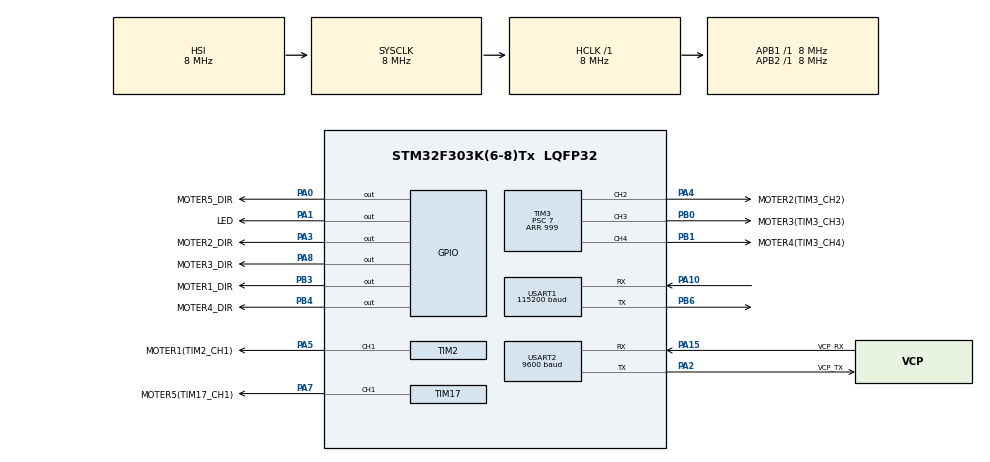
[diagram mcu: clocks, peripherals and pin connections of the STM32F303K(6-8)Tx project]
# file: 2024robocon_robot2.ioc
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Mcu.Family=STM32F3
Mcu.Name=STM32F303K(6-8)Tx
Mcu.Package=LQFP32
NVIC.PriorityGroup=NVIC_PRIORITYGROUP_4
NVIC.TIM1_TRG_COM_TIM17_IRQn=true\:0\:0\:false\:false\:true\:true\:true\:true
NVIC.TIM6_DAC1_IRQn=true\:0\:0\:false\:false\:true\:true\:true\:true
NVIC.USART1_IRQn=true\:0\:0\:false\:false\:true\:true\:true\:true
NVIC.USART2_IRQn=true\:0\:0\:false\:false\:true\:true\:true\:true
PA0.GPIO_Label=MOTER5_DIR
PA0.Signal=GPIO_Output
PA1.GPIO_Label=LED
PA1.Signal=GPIO_Output
PA10.Mode=Asynchronous
PA10.Signal=USART1_RX
PA13.GPIO_Label=SWDIO
PA13.Mode=Serial_Wire
PA13.Signal=SYS_JTMS-SWDIO
PA14.GPIO_Label=SWCLK
PA14.Mode=Serial_Wire
PA14.Signal=SYS_JTCK-SWCLK
PA15.GPIO_Label=VCP_RX
PA15.Mode=Asynchronous
PA15.Signal=USART2_RX
PA2.GPIO_Label=VCP_TX
PA2.Mode=Asynchronous
PA2.Signal=USART2_TX
PA3.GPIO_Label=MOTER2_DIR
PA3.Signal=GPIO_Output
PA4.GPIO_Label=MOTER2(TIM3_CH2)
PA4.GPIO_ModeDefaultPP=GPIO_MODE_AF_PP
PA4.GPIO_PuPd=GPIO_NOPULL
PA4.GPIO_Speed=GPIO_SPEED_FREQ_LOW
PA4.Signal=S_TIM3_CH2
PA5.GPIO_Label=MOTER1(TIM2_CH1)
PA5.Signal=S_TIM2_CH1_ETR
PA7.GPIO_Label=MOTER5(TIM17_CH1)
PA7.GPIO_ModeDefaultPP=GPIO_MODE_AF_PP
PA7.GPIO_Speed=GPIO_SPEED_FREQ_LOW
PA7.Signal=S_TIM17_CH1
PA8.GPIO_Label=MOTER3_DIR
PA8.Signal=GPIO_Output
PB0.GPIO_Label=MOTER3(TIM3_CH3)
PB0.GPIO_ModeDefaultPP=GPIO_MODE_AF_PP
PB0.GPIO_Speed=GPIO_SPEED_FREQ_LOW
PB0.Signal=S_TIM3_CH3
PB1.GPIO_Label=MOTER4(TIM3_CH4)
PB1.GPIO_ModeDefaultPP=GPIO_MODE_AF_PP
PB1.GPIO_Speed=GPIO_SPEED_FREQ_LOW
PB1.Signal=S_TIM3_CH4
PB3.GPIO_Label=MOTER1_DIR
PB3.Signal=GPIO_Output
PB4.GPIO_Label=MOTER4_DIR
PB4.Signal=GPIO_Output
PB6.Mode=Asynchronous
PB6.Signal=USART1_TX
PF0\ /\ OSC_IN.GPIO_Label=MCO
PF0\ /\ OSC_IN.Mode=HSE-External-Clock-Source
PF0\ /\ OSC_IN.Signal=RCC_OSC_IN
ProjectManager.HeapSize=0x200
ProjectManager.StackSize=0x400
ProjectManager.TargetToolchain=CMake
RCC.AHBFreq_Value=8000000
RCC.APB1Freq_Value=8000000
RCC.APB2Freq_Value=8000000
RCC.CortexFreq_Value=8000000
RCC.HSE_VALUE=8000000
RCC.HSI_VALUE=8000000
RCC.SYSCLKFreq_VALUE=8000000
SH.S_TIM17_CH1.0=TIM17_CH1,PWM Generation1 CH1
SH.S_TIM2_CH1_ETR.0=TIM2_CH1,PWM Generation1 CH1
SH.S_TIM3_CH2.0=TIM3_CH2,PWM Generation2 CH2
SH.S_TIM3_CH3.0=TIM3_CH3,PWM Generation3 CH3
SH.S_TIM3_CH4.0=TIM3_CH4,PWM Generation4 CH4
TIM17.Channel=TIM_CHANNEL_1
TIM17.Period=999
TIM17.Prescaler=7
TIM2.Channel-PWM\ Generation1\ CH1=TIM_CHANNEL_1
TIM2.Period=999
TIM2.Prescaler=7
TIM3.Channel-PWM\ Generation2\ CH2=TIM_CHANNEL_2
TIM3.Channel-PWM\ Generation3\ CH3=TIM_CHANNEL_3
TIM3.Channel-PWM\ Generation4\ CH4=TIM_CHANNEL_4
TIM3.Period=999
TIM3.Prescaler=7
TIM6.Period=1999
TIM6.Prescaler=3
USART1.BaudRate=115200
USART1.VirtualMode-Asynchronous=VM_ASYNC
USART2.BaudRate=9600
USART2.VirtualMode-Asynchronous=VM_ASYNC
VP_TIM17_VS_ClockSourceINT.Mode=Enable_Timer
VP_TIM6_VS_ClockSourceINT.Mode=Enable_Timer
board=NUCLEO-F303K8

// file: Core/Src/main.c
/* USER CODE BEGIN Header */
/**
 ******************************************************************************
 * @file           : main.c
 * @brief          : Main program body
 *                   2024robokon_robot2 proglam
 ******************************************************************************
 * @attention
 *
 * Copyright (c) 2024 STMicroelectronics.
 * All rights reserved.
 *
 * This software is licensed under terms that can be found in the LICENSE file
 * in the root directory of this software component.
 * If no LICENSE file comes with this software, it is provided AS-IS.
 *
 ******************************************************************************
 */
/* USER CODE END Header */
#include "main.h"

/* USER CODE BEGIN Includes */
#include "wireless_reception.h"
#include "robot_pow_operation.h"
/* USER CODE END Includes */

TIM_HandleTypeDef htim2;
TIM_HandleTypeDef htim3;
TIM_HandleTypeDef htim6;
TIM_HandleTypeDef htim17;

UART_HandleTypeDef huart1;
UART_HandleTypeDef huart2;

/* USER CODE BEGIN PV */
uint32_t timerCount=0;
uint16_t stateCount=100;
uint8_t timerFlag = 0;

/* USER CODE END PV */

void SystemClock_Config(void);
static void MX_GPIO_Init(void);
static void MX_TIM3_Init(void);
static void MX_TIM6_Init(void);
static void MX_TIM17_Init(void);
static void MX_USART1_UART_Init(void);
static void MX_USART2_UART_Init(void);
static void MX_TIM2_Init(void);

/* USER CODE BEGIN 0 */
void HAL_TIM_PeriodElapsedCallback(TIM_HandleTypeDef *htim)
{
  if (htim == &htim6)
  {
    timerCount++;
    if (timerCount >= 5)
    {
      stateCount++;
      timerFlag = 1;
      timerCount = 0;
    }
  }
}
void HAL_UART_RxCpltCallback(UART_HandleTypeDef *huart)
{
  if (huart == &huart1)
  {
    uart_reception();
  }
}
/* USER CODE END 0 */

int main(void)
{

  /* USER CODE BEGIN 1 */
  inputState cntState;
  /* USER CODE END 1 */

  /* MCU Configuration--------------------------------------------------------*/

  /* Reset of all peripherals, Initializes the Flash interface and the Systick. */
  HAL_Init();

  /* Configure the system clock */
  SystemClock_Config();

  /* Initialize all configured peripherals */
  MX_GPIO_Init();
  MX_TIM3_Init();
  MX_TIM6_Init();
  MX_TIM17_Init();
  MX_USART1_UART_Init();
  MX_USART2_UART_Init();
  MX_TIM2_Init();
  /* USER CODE BEGIN 2 */
  HAL_TIM_PWM_Start(&htim2, TIM_CHANNEL_1);
  HAL_TIM_PWM_Start(&htim3, TIM_CHANNEL_2);
  HAL_TIM_PWM_Start(&htim3, TIM_CHANNEL_3);
  HAL_TIM_PWM_Start(&htim3, TIM_CHANNEL_4);
  HAL_TIM_PWM_Start(&htim17, TIM_CHANNEL_1);
  HAL_TIM_Base_Start_IT(&htim6);
  MoterPowInit();

  HAL_UART_Receive_IT(&huart1, (uint8_t *)&U1RXbuffer, sizeof(U1RXbuffer));

  /* USER CODE END 2 */

  /* Infinite loop */
  /* USER CODE BEGIN WHILE */
  while (1)
  {
    // HAL_UART_Transmit(&huart2, &encoderVal, sizeof(encoderVal), 0xFFFF);

    if (timerFlag)
    {
      timerFlag = 0;
      IndividualOpelation(&cntState);
    }

    if (stateCount >= 100)
    {
      cntState.Horizontal = 0x40;
      cntState.Vartical = 0x40;
      cntState.buttonSW_1=0;
      cntState.buttonSW_2=0;
      cntState.buttonSW_3=0;
      cntState.buttonSW_4=0;
      MoterPowInit();
    }

    WheelPowControl(cntState.Horizontal, cntState.Vartical);

    if (controlerFlag)
    {
      controlerFlag = 0;
      stateCount = 0;
      DecodeControlerVarBuffer(controlerVarBuffer, &cntState);

      for (int i = 0; i < RX_LENGTH; i++)
      {
        HAL_UART_Transmit(&huart2, &controlerVarBuffer[i], sizeof(controlerVarBuffer[i]), 0xFFFF);
      }
      HAL_GPIO_WritePin(LED_GPIO_Port, LED_Pin, GPIO_PIN_RESET);
    }
    if (__HAL_UART_GET_FLAG(&huart1, UART_FLAG_ORE) ||
        __HAL_UART_GET_FLAG(&huart1, UART_FLAG_NE) ||
        __HAL_UART_GET_FLAG(&huart1, UART_FLAG_FE) ||
        __HAL_UART_GET_FLAG(&huart1, UART_FLAG_PE))
    {
      HAL_UART_AbortReceive_IT(&huart1);
      HAL_UART_Receive_IT(&huart1, (uint8_t *)&U1RXbuffer, sizeof(U1RXbuffer));
    }

    /* USER CODE END WHILE */

  }
}

void SystemClock_Config(void)
{
  RCC_OscInitTypeDef RCC_OscInitStruct = {0};
  RCC_ClkInitTypeDef RCC_ClkInitStruct = {0};
  RCC_PeriphCLKInitTypeDef PeriphClkInit = {0};

  /** Initializes the RCC Oscillators according to the specified parameters
  * in the RCC_OscInitTypeDef structure.
  */
  RCC_OscInitStruct.OscillatorType = RCC_OSCILLATORTYPE_HSI;
  RCC_OscInitStruct.HSIState = RCC_HSI_ON;
  RCC_OscInitStruct.HSICalibrationValue = RCC_HSICALIBRATION_DEFAULT;
  RCC_OscInitStruct.PLL.PLLState = RCC_PLL_NONE;
  if (HAL_RCC_OscConfig(&RCC_OscInitStruct) != HAL_OK)
  {
    Error_Handler();
  }

  /** Initializes the CPU, AHB and APB buses clocks
  */
  RCC_ClkInitStruct.ClockType = RCC_CLOCKTYPE_HCLK|RCC_CLOCKTYPE_SYSCLK
                              |RCC_CLOCKTYPE_PCLK1|RCC_CLOCKTYPE_PCLK2;
  RCC_ClkInitStruct.SYSCLKSource = RCC_SYSCLKSOURCE_HSI;
  RCC_ClkInitStruct.AHBCLKDivider = RCC_SYSCLK_DIV1;
  RCC_ClkInitStruct.APB1CLKDivider = RCC_HCLK_DIV1;
  RCC_ClkInitStruct.APB2CLKDivider = RCC_HCLK_DIV1;

  if (HAL_RCC_ClockConfig(&RCC_ClkInitStruct, FLASH_LATENCY_0) != HAL_OK)
  {
    Error_Handler();
  }
  PeriphClkInit.PeriphClockSelection = RCC_PERIPHCLK_USART1;
  PeriphClkInit.Usart1ClockSelection = RCC_USART1CLKSOURCE_PCLK1;
  if (HAL_RCCEx_PeriphCLKConfig(&PeriphClkInit) != HAL_OK)
  {
    Error_Handler();
  }
}

static void MX_TIM2_Init(void)
{

  TIM_MasterConfigTypeDef sMasterConfig = {0};
  TIM_OC_InitTypeDef sConfigOC = {0};

  htim2.Instance = TIM2;
  htim2.Init.Prescaler = 7;
  htim2.Init.CounterMode = TIM_COUNTERMODE_UP;
  htim2.Init.Period = 999;
  htim2.Init.ClockDivision = TIM_CLOCKDIVISION_DIV1;
  htim2.Init.AutoReloadPreload = TIM_AUTORELOAD_PRELOAD_DISABLE;
  if (HAL_TIM_PWM_Init(&htim2) != HAL_OK)
  {
    Error_Handler();
  }
  sMasterConfig.MasterOutputTrigger = TIM_TRGO_RESET;
  sMasterConfig.MasterSlaveMode = TIM_MASTERSLAVEMODE_DISABLE;
  if (HAL_TIMEx_MasterConfigSynchronization(&htim2, &sMasterConfig) != HAL_OK)
  {
    Error_Handler();
  }
  sConfigOC.OCMode = TIM_OCMODE_PWM1;
  sConfigOC.Pulse = 0;
  sConfigOC.OCPolarity = TIM_OCPOLARITY_HIGH;
  sConfigOC.OCFastMode = TIM_OCFAST_DISABLE;
  if (HAL_TIM_PWM_ConfigChannel(&htim2, &sConfigOC, TIM_CHANNEL_1) != HAL_OK)
  {
    Error_Handler();
  }
  HAL_TIM_MspPostInit(&htim2);

}

static void MX_TIM3_Init(void)
{

  TIM_MasterConfigTypeDef sMasterConfig = {0};
  TIM_OC_InitTypeDef sConfigOC = {0};

  htim3.Instance = TIM3;
  htim3.Init.Prescaler = 7;
  htim3.Init.CounterMode = TIM_COUNTERMODE_UP;
  htim3.Init.Period = 999;
  htim3.Init.ClockDivision = TIM_CLOCKDIVISION_DIV1;
  htim3.Init.AutoReloadPreload = TIM_AUTORELOAD_PRELOAD_DISABLE;
  if (HAL_TIM_PWM_Init(&htim3) != HAL_OK)
  {
    Error_Handler();
  }
  sMasterConfig.MasterOutputTrigger = TIM_TRGO_RESET;
  sMasterConfig.MasterSlaveMode = TIM_MASTERSLAVEMODE_DISABLE;
  if (HAL_TIMEx_MasterConfigSynchronization(&htim3, &sMasterConfig) != HAL_OK)
  {
    Error_Handler();
  }
  sConfigOC.OCMode = TIM_OCMODE_PWM1;
  sConfigOC.Pulse = 0;
  sConfigOC.OCPolarity = TIM_OCPOLARITY_HIGH;
  sConfigOC.OCFastMode = TIM_OCFAST_DISABLE;
  if (HAL_TIM_PWM_ConfigChannel(&htim3, &sConfigOC, TIM_CHANNEL_2) != HAL_OK)
  {
    Error_Handler();
  }
  if (HAL_TIM_PWM_ConfigChannel(&htim3, &sConfigOC, TIM_CHANNEL_3) != HAL_OK)
  {
    Error_Handler();
  }
  if (HAL_TIM_PWM_ConfigChannel(&htim3, &sConfigOC, TIM_CHANNEL_4) != HAL_OK)
  {
    Error_Handler();
  }
  HAL_TIM_MspPostInit(&htim3);

}

static void MX_TIM6_Init(void)
{

  TIM_MasterConfigTypeDef sMasterConfig = {0};

  htim6.Instance = TIM6;
  htim6.Init.Prescaler = 3;
  htim6.Init.CounterMode = TIM_COUNTERMODE_UP;
  htim6.Init.Period = 1999;
  htim6.Init.AutoReloadPreload = TIM_AUTORELOAD_PRELOAD_DISABLE;
  if (HAL_TIM_Base_Init(&htim6) != HAL_OK)
  {
    Error_Handler();
  }
  sMasterConfig.MasterOutputTrigger = TIM_TRGO_RESET;
  sMasterConfig.MasterSlaveMode = TIM_MASTERSLAVEMODE_DISABLE;
  if (HAL_TIMEx_MasterConfigSynchronization(&htim6, &sMasterConfig) != HAL_OK)
  {
    Error_Handler();
  }

}

static void MX_TIM17_Init(void)
{

  TIM_OC_InitTypeDef sConfigOC = {0};
  TIM_BreakDeadTimeConfigTypeDef sBreakDeadTimeConfig = {0};

  htim17.Instance = TIM17;
  htim17.Init.Prescaler = 7;
  htim17.Init.CounterMode = TIM_COUNTERMODE_UP;
  htim17.Init.Period = 999;
  htim17.Init.ClockDivision = TIM_CLOCKDIVISION_DIV1;
  htim17.Init.RepetitionCounter = 0;
  htim17.Init.AutoReloadPreload = TIM_AUTORELOAD_PRELOAD_DISABLE;
  if (HAL_TIM_Base_Init(&htim17) != HAL_OK)
  {
    Error_Handler();
  }
  if (HAL_TIM_PWM_Init(&htim17) != HAL_OK)
  {
    Error_Handler();
  }
  sConfigOC.OCMode = TIM_OCMODE_PWM1;
  sConfigOC.Pulse = 0;
  sConfigOC.OCPolarity = TIM_OCPOLARITY_HIGH;
  sConfigOC.OCNPolarity = TIM_OCNPOLARITY_HIGH;
  sConfigOC.OCFastMode = TIM_OCFAST_DISABLE;
  sConfigOC.OCIdleState = TIM_OCIDLESTATE_RESET;
  sConfigOC.OCNIdleState = TIM_OCNIDLESTATE_RESET;
  if (HAL_TIM_PWM_ConfigChannel(&htim17, &sConfigOC, TIM_CHANNEL_1) != HAL_OK)
  {
    Error_Handler();
  }
  sBreakDeadTimeConfig.OffStateRunMode = TIM_OSSR_DISABLE;
  sBreakDeadTimeConfig.OffStateIDLEMode = TIM_OSSI_DISABLE;
  sBreakDeadTimeConfig.LockLevel = TIM_LOCKLEVEL_OFF;
  sBreakDeadTimeConfig.DeadTime = 0;
  sBreakDeadTimeConfig.BreakState = TIM_BREAK_DISABLE;
  sBreakDeadTimeConfig.BreakPolarity = TIM_BREAKPOLARITY_HIGH;
  sBreakDeadTimeConfig.BreakFilter = 0;
  sBreakDeadTimeConfig.AutomaticOutput = TIM_AUTOMATICOUTPUT_DISABLE;
  if (HAL_TIMEx_ConfigBreakDeadTime(&htim17, &sBreakDeadTimeConfig) != HAL_OK)
  {
    Error_Handler();
  }
  HAL_TIM_MspPostInit(&htim17);

}

static void MX_USART1_UART_Init(void)
{

  huart1.Instance = USART1;
  huart1.Init.BaudRate = 115200;
  huart1.Init.WordLength = UART_WORDLENGTH_8B;
  huart1.Init.StopBits = UART_STOPBITS_1;
  huart1.Init.Parity = UART_PARITY_NONE;
  huart1.Init.Mode = UART_MODE_TX_RX;
  huart1.Init.HwFlowCtl = UART_HWCONTROL_NONE;
  huart1.Init.OverSampling = UART_OVERSAMPLING_16;
  huart1.Init.OneBitSampling = UART_ONE_BIT_SAMPLE_DISABLE;
  huart1.AdvancedInit.AdvFeatureInit = UART_ADVFEATURE_NO_INIT;
  if (HAL_UART_Init(&huart1) != HAL_OK)
  {
    Error_Handler();
  }

}

static void MX_USART2_UART_Init(void)
{

  huart2.Instance = USART2;
  huart2.Init.BaudRate = 9600;
  huart2.Init.WordLength = UART_WORDLENGTH_8B;
  huart2.Init.StopBits = UART_STOPBITS_1;
  huart2.Init.Parity = UART_PARITY_NONE;
  huart2.Init.Mode = UART_MODE_TX_RX;
  huart2.Init.HwFlowCtl = UART_HWCONTROL_NONE;
  huart2.Init.OverSampling = UART_OVERSAMPLING_16;
  huart2.Init.OneBitSampling = UART_ONE_BIT_SAMPLE_DISABLE;
  huart2.AdvancedInit.AdvFeatureInit = UART_ADVFEATURE_NO_INIT;
  if (HAL_UART_Init(&huart2) != HAL_OK)
  {
    Error_Handler();
  }

}

static void MX_GPIO_Init(void)
{
  GPIO_InitTypeDef GPIO_InitStruct = {0};

  /* GPIO Ports Clock Enable */
  __HAL_RCC_GPIOF_CLK_ENABLE();
  __HAL_RCC_GPIOA_CLK_ENABLE();
  __HAL_RCC_GPIOB_CLK_ENABLE();

  /*Configure GPIO pin Output Level */
  HAL_GPIO_WritePin(GPIOA, MOTER5_DIR_Pin|LED_Pin|MOTER2_DIR_Pin|MOTER3_DIR_Pin, GPIO_PIN_RESET);

  /*Configure GPIO pin Output Level */
  HAL_GPIO_WritePin(GPIOB, MOTER1_DIR_Pin|MOTER4_DIR_Pin, GPIO_PIN_RESET);

  /*Configure GPIO pins : MOTER5_DIR_Pin LED_Pin MOTER2_DIR_Pin MOTER3_DIR_Pin */
  GPIO_InitStruct.Pin = MOTER5_DIR_Pin|LED_Pin|MOTER2_DIR_Pin|MOTER3_DIR_Pin;
  GPIO_InitStruct.Mode = GPIO_MODE_OUTPUT_PP;
  GPIO_InitStruct.Pull = GPIO_NOPULL;
  GPIO_InitStruct.Speed = GPIO_SPEED_FREQ_LOW;
  HAL_GPIO_Init(GPIOA, &GPIO_InitStruct);

  /*Configure GPIO pins : MOTER1_DIR_Pin MOTER4_DIR_Pin */
  GPIO_InitStruct.Pin = MOTER1_DIR_Pin|MOTER4_DIR_Pin;
  GPIO_InitStruct.Mode = GPIO_MODE_OUTPUT_PP;
  GPIO_InitStruct.Pull = GPIO_NOPULL;
  GPIO_InitStruct.Speed = GPIO_SPEED_FREQ_LOW;
  HAL_GPIO_Init(GPIOB, &GPIO_InitStruct);

}

void Error_Handler(void)
{
  __disable_irq();
  while (1)
  {
  }
}
